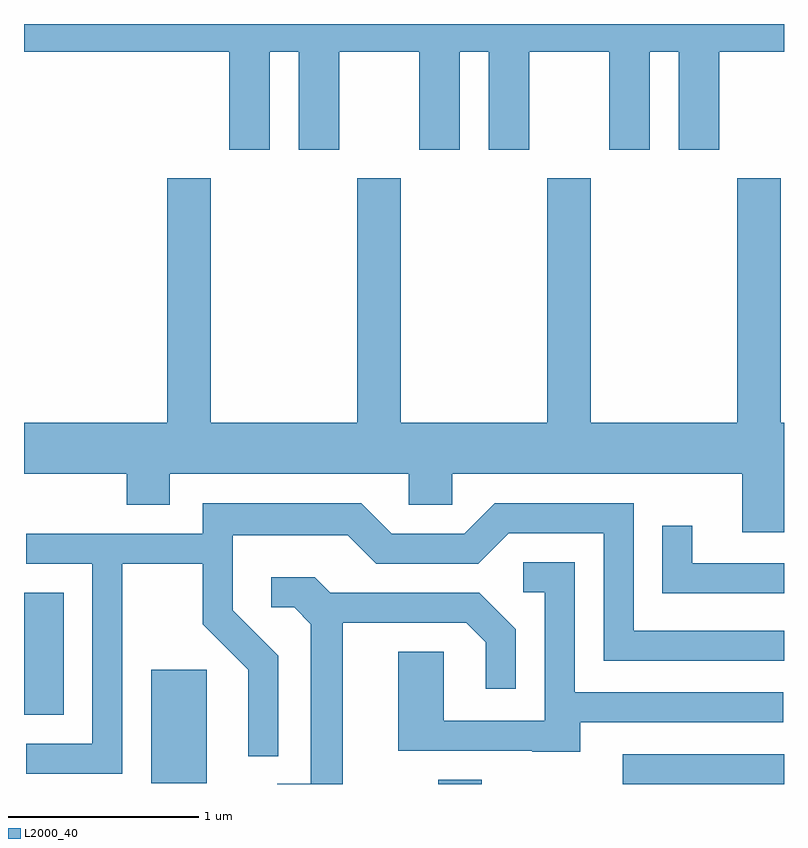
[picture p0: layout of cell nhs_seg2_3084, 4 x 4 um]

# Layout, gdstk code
import gdstk
lib = gdstk.Library(unit=1e-6, precision=1e-09)
def R(c, l, rs):  # rectangles x0, y0, x1, y1
    for r in rs: c.add(gdstk.rectangle(r[:2], r[2:], *l))
def P(c, l, *ps):  # polygons
    for p in ps: c.add(gdstk.Polygon(p, *l))
L2000_40 = (2000, 40)

nhs_seg2_3084 = lib.new_cell('nhs_seg2_3084')
R(nhs_seg2_3084, L2000_40, [(277.791,1037.802,278.019,1037.824), (278.761,1037.802,279.611,1037.959), (276.281,1037.806,276.574,1038.404), (275.611,1038.166,275.819,1038.809)])
P(nhs_seg2_3084, L2000_40, [(276.904,1041.656),(277.056,1041.656),(277.056,1041.141),(277.269,1041.141),(277.269,1041.656),(277.691,1041.656),(277.691,1041.141),(277.904,1041.141),(277.904,1041.656),(278.056,1041.656),(278.056,1041.141),(278.269,1041.141),(278.269,1041.656),(278.691,1041.656),(278.691,1041.141),(278.904,1041.141),(278.904,1041.656),(279.056,1041.656),(279.056,1041.141),(279.269,1041.141),(279.269,1041.656),(279.611,1041.656),(279.611,1041.802),(275.611,1041.802),(275.611,1041.656),(276.691,1041.656),(276.691,1041.141),(276.904,1041.141)],
  [(279.611,1039.704),(279.594,1039.704),(279.594,1040.989),(279.366,1040.989),(279.366,1039.704),(278.594,1039.704),(278.594,1040.989),(278.366,1040.989),(278.366,1039.704),(277.594,1039.704),(277.594,1040.989),(277.366,1040.989),(277.366,1039.704),(276.594,1039.704),(276.594,1040.989),(276.366,1040.989),(276.366,1039.704),(275.611,1039.704),(275.611,1039.436),(276.151,1039.436),(276.151,1039.271),(276.379,1039.271),(276.379,1039.436),(277.636,1039.436),(277.636,1039.271),(277.864,1039.271),(277.864,1039.436),(279.391,1039.436),(279.391,1039.126),(279.611,1039.126)],
  [(276.129,1038.961),(276.551,1038.961),(276.551,1038.644),(276.791,1038.404),(276.791,1037.948),(276.949,1037.948),(276.949,1038.477),(276.709,1038.717),(276.709,1039.111),(277.314,1039.111),(277.464,1038.961),(278.002,1038.961),(278.162,1039.121),(278.661,1039.121),(278.661,1038.451),(279.611,1038.451),(279.611,1038.609),(278.819,1038.609),(278.819,1039.279),(278.089,1039.279),(277.929,1039.119),(277.547,1039.119),(277.387,1039.279),(276.551,1039.279),(276.551,1039.119),(275.623,1039.119),(275.623,1038.961),(275.971,1038.961),(275.971,1038.014),(275.623,1038.014),(275.623,1037.856),(276.129,1037.856)],
  [(279.611,1038.964),(279.129,1038.964),(279.129,1039.162),(278.971,1039.162),(278.971,1038.806),(279.611,1038.806)],
  [(278.539,1038.126),(279.608,1038.126),(279.608,1038.284),(278.509,1038.284),(278.509,1038.969),(278.238,1038.969),(278.238,1038.811),(278.351,1038.811),(278.351,1038.134),(277.819,1038.134),(277.819,1038.499),(277.581,1038.499),(277.581,1037.976),(278.285,1037.976),(278.285,1037.971),(278.539,1037.971)],
  [(277.289,1038.651),(277.939,1038.651),(278.041,1038.549),(278.041,1038.303),(278.199,1038.303),(278.199,1038.617),(278.007,1038.809),(277.222,1038.809),(277.142,1038.889),(276.913,1038.889),(276.913,1038.731),(277.034,1038.731),(277.121,1038.644),(277.121,1037.804),(276.943,1037.804),(276.943,1037.802),(277.289,1037.802)])

lib.write_gds('nhs_seg2_3084.gds')
